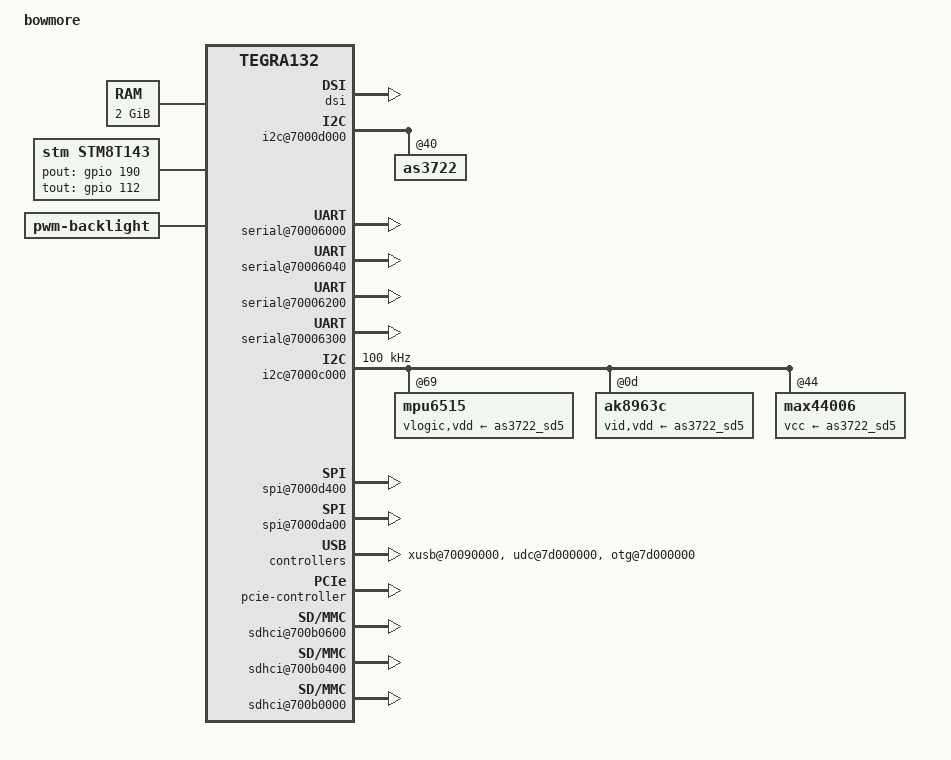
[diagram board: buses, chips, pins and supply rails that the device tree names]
/*
 * arch/arm64/boot/dts/tegra132-bowmore-e1973-1000-a01-00.dts
 *
 * Copyright (c) 2014, NVIDIA CORPORATION.  All rights reserved.
 *
 * This program is free software; you can redistribute it and/or modify
 * it under the terms of the GNU General Public License as published by
 * the Free Software Foundation; either version 2 of the License, or
 * (at your option) any later version.
 *
 * This program is distributed in the hope that it will be useful, but WITHOUT
 * ANY WARRANTY; without even the implied warranty of MERCHANTABILITY or
 * FITNESS FOR A PARTICULAR PURPOSE.  See the GNU General Public License for
 * more details.
 *
 * You should have received a copy of the GNU General Public License along
 * with this program; if not, write to the Free Software Foundation, Inc.,
 * 51 Franklin Street, Fifth Floor, Boston, MA  02110-1301, USA.
 */
/dts-v1/;

#define TEGRA132_PACKAGE_IS_DSC
#include "tegra132-soc-shield.dtsi"
#include "tegra124-platforms/tegra124-tn8-keys-e1780-1100-a02.dtsi"
#include "tegra124-platforms/tegra124-ardbeg-power-tree-e1733-1000-a00.dtsi"
#include "tegra132-platforms/tegra132-bowmore-sensor-e1934-1000-a00.dtsi"
#include "tegra132-platforms/tegra132-bowmore-camera-a00.dtsi"
#include "tegra132-platforms/tegra132-sdhci.dtsi"
#include "panel-a-wuxga-8-0.dtsi"
#include "panel-p-wuxga-10-1.dtsi"
#include "tegra124-platforms/tegra124-ardbeg-hdmi-e1780-1000-a00.dtsi"

/ {
	model = "bowmore";
	compatible = "nvidia,bowmore", "nvidia,tegra132";
	nvidia,boardids = "1973:1000:01;1733:1000:00";
	nvidia,dtsfilename = __FILE__;
	nvidia,proc-boardid = "1973:1000:01";
	nvidia,pmu-boardid = "1733:1000:00";
	#address-cells = <2>;
	#size-cells = <2>;

	chosen {
		bootargs = "tegraid=40.0.0.00.00 vmalloc=256M video=tegrafb earlycon=uart8250,mmio32,0x70006300";
		stdout-path = &uartd;
		linux,initrd-start = <0x85000000>;
		linux,initrd-end = <0x851bc400>;
	};

	firmware {
		android {
			compatible = "android,firmware";
			hardware = "bowmore";
		};
	};

	host1x {
		/* tegradc.0 */
		dc@54200000 {
			status = "okay";
			nvidia,dc-flags = <TEGRA_DC_FLAG_ENABLED>;
			nvidia,emc-clk-rate = <204000000>;
			nvidia,cmu-enable = <1>;
			nvidia,low-v-win = <0x2>;
			nvidia,fb-bpp = <32>; /* bits per pixel */
			nvidia,fb-flags = <TEGRA_FB_FLIP_ON_PROBE>;
		};
		/* tegradc.1 */
		dc@54240000 {
			status = "okay";
			nvidia,dc-flags = <TEGRA_DC_FLAG_ENABLED>;
			nvidia,emc-clk-rate = <300000000>;
			nvidia,fb-bpp = <32>; /* bits per pixel */
			nvidia,fb-flags = <TEGRA_FB_FLIP_ON_PROBE>;
		};
		dsi {
			nvidia,dsi-controller-vs = <DSI_VS_1>;
			status = "okay";
			panel-a-wuxga-8-0 {
				nvidia,dsi-dpd-pads = <DSIC_DPD_EN DSID_DPD_EN>;
				nvidia,panel-rst-gpio = <&gpio TEGRA_GPIO(N, 4) 0>; /* PN4 */
				nvidia,panel-bl-pwm-gpio = <&gpio TEGRA_GPIO(H, 1) 0>; /* PH1 */
			};
			panel-p-wuxga-10-1 {
				nvidia,dsi-dpd-pads = <DSIC_DPD_EN DSID_DPD_EN>;
				nvidia,panel-rst-gpio = <&gpio TEGRA_GPIO(H, 3) 0>; /* PH3 */
				nvidia,panel-bl-pwm-gpio = <&gpio TEGRA_GPIO(H, 1) 0>; /* PH1 */
			};
		};
	};

	i2c@7000d000 {
		as3722@40 {
			ams,minor-rev = <1>;
		};
	};
	serial@70006000 {
		compatible = "nvidia,tegra114-hsuart";
		status = "okay";
	};

	serial@70006040 {
		compatible = "nvidia,tegra114-hsuart";
		status = "okay";
	};

	serial@70006200 {
		compatible = "nvidia,tegra114-hsuart";
		status = "okay";
	};

	serial@70006300 {
		compatible = "nvidia,tegra20-uart", "nvidia,tegra114-hsuart";
		console-port;
		sqa-automation-port;
		status = "okay";
	};

	memory@0x80000000 {
		device_type = "memory";
		reg = <0x0 0x80000000 0x0 0x80000000>;
	};

	i2c@7000c000 {
		clock-frequency = <100000>;
		mpu6515@69 {
			vlogic-supply = <&as3722_sd5>;
			vdd-supply = <&as3722_sd5>;
		};

		ak8963c@0d {
			vid-supply = <&as3722_sd5>;
			vdd-supply = <&as3722_sd5>;
		};

		max44006@44 {
			vcc-supply = <&as3722_sd5>;
		};
	 };

	i2c@7000d000 {
		nvidia,bit-banging-xfer-after-shutdown;
	};

	spi@7000d400 {
		status = "okay";
		spi-max-frequency = <25000000>;
	};

	spi@7000da00 {
		status = "okay";
		spi-max-frequency = <25000000>;
	};

	pmc@7000e400 {
		status = "okay";
		nvidia,invert-interrupt;
		nvidia,suspend-mode = <0>;
		nvidia,cpu-pwr-good-time = <500>;
		nvidia,cpu-pwr-off-time = <300>;
		nvidia,core-pwr-good-time = <3845 3845>;
		nvidia,core-pwr-off-time = <2000>;
		nvidia,core-power-req-active-high;
		nvidia,sys-clock-req-active-high;
	};

	stm8t143 {
		compatible = "stm,stm8t143";
		pout-gpio = <&gpio 190 0>;
		tout-gpio = <&gpio 112 0>;
	};

	xusb@70090000 {
		/* nvidia,uses_external_pmic;
		nvidia,gpio_controls_muxed_ss_lanes; */
		nvidia,gpio_ss1_sata = <0>;
		nvidia,portmap = <0x703>; /* SSP0, SSP1 USB2P0, USB2P1, USBP2 */
		nvidia,ss_portmap = <0x20>; /* SSP0 on USB2P0, SSP1 on USB2P2 */
		nvidia,lane_owner = <6>; /* USB3P0 USB3P1 */
		nvidia,ulpicap = <0>; /* No ulpi support. can we remove */
		/* hsic config values in order defined in structure */
		nvidia,hsic0 = /bits/8 <0x1 0x1 0x8 0xa 0 0 1 0x22 0>;
		status = "okay";
	};

	udc@7d000000 {
		nvidia,port-otg;
		nvidia,charging-supported;
		nvidia,id-detection-type = <1>;
		#extcon-cells = <1>;
		avdd_usb-supply = <&as3722_gpio2>;
		avdd_pll_utmip-supply = <&as3722_sd5>;
		status = "okay";
	};

	otg@7d000000 {
		nvidia,id-detection-type = <1>;
		extcon-cables = <&adc_extcon 0>;
		extcon-cable-names = "id";
		#extcon-cells = <1>;
		usb_vbus = <&usb0_vbus>;
		status = "okay";
	};

	pcie-controller {
		nvidia,port0_status = <1>;
		nvidia,port1_status = <1>;
		nvidia,hot-plug-gpio = <&gpio TEGRA_GPIO(O, 1) 0>;
		nvidia,wake-gpio = <&gpio TEGRA_GPIO(DD, 3) 0>;
		hvdd-pex-supply = <&as3722_gpio2>;
		hvdd-pex-pll-e-supply = <&as3722_gpio2>;
		dvddio-pex-supply = <&as3722_sd4>;
		avddio-pex-supply = <&as3722_sd4>;
		avdd-pex-pll-supply = <&as3722_sd4>;
		vddio-pex-ctl-supply = <&as3722_sd4>;
		status = "okay";
	};

	denver_cpuidle_pmic {
		type = <4>; /* TI TPS65913 2.3 */
		retention-voltage = <11>;
		lock = <0>;
	};

	psy_extcon {
		compatible = "power-supply-extcon";
		extcon-cables = <&udc 1 &udc 2 &udc 3
				&udc 4 &udc 5 &udc 6
				&udc 7 &udc 8 &udc 9
				&udc 10 &otg 0>;
		extcon-cable-names = "usb-charger", "ta-charger", "maxim-charger",
				"qc2-charger", "downstream-charger","fast-charger",
				"slow-charger", "apple-500ma", "apple-1a",
				"apple-2a", "y-cable";
	};

	therm_est_sensor {
		subdev {
			subdev_names = "Tdiode", "Tboard";

			coeff_set@0 {
				toffset = <4034>;
				coeffs = <
					3 0 0 0 1 0 (-1) 0 1 0 0 1 1 0 0 0 0 1 2 2
					1 1 2 8 6 (-8) (-13) (-9) (-9) (-8) (-17) (-18) (-18) (-16) 2 17 15 27 42 60
				>;
			};
		};
	};

	backlight {
		compatible = "pwm-backlight";
		status = "okay";
	};

	sdhci@700b0600 {
		status = "okay";
	};

	sdhci@700b0400 {
		status = "okay";
	};

	sdhci@700b0000 {
		status = "okay";
	};

};
